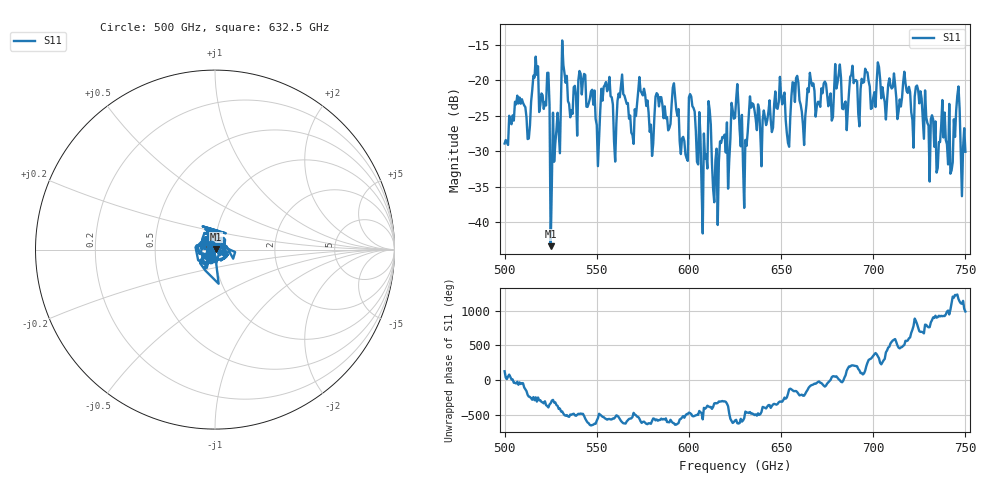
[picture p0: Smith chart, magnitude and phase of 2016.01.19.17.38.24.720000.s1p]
!Created with skrf (http://scikit-rf.org).
# GHz S RI R 50.0
!freq ReS11 ImS11
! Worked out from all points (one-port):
!   401 points, 500 GHz to 750 GHz, reference 50 ohm
!   lowest |S11| = -43.4 dB at 525 GHz (marker M1), VSWR 1.01, Z = 50.6 + j0.373 ohm
!   |S11| at or under -10 dB: start of sweep to end of sweep
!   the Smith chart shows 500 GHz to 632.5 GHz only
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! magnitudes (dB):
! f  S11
! 500 GHz  -28.9
! 513.1 GHz  -28.2
! 516.9 GHz  -16.7
! 523.1 GHz  -18.9
! 525 GHz  -43.4
! 526.2 GHz  -24.6
! 531.2 GHz  -14.4
! 542.5 GHz  -20.0
! 550.6 GHz  -32.1
! 562.5 GHz  -22.4
! 568.8 GHz  -27.4
! 574.4 GHz  -21.8
! 580 GHz  -30.7
! 593.8 GHz  -25.0
! 598.1 GHz  -30.5
! 601.2 GHz  -22.3
! 608.1 GHz  -27.5
! 611.2 GHz  -24.2
! 614.4 GHz  -31.3
! 625 GHz  -25.3
! 630.6 GHz  -28.4
! 633.8 GHz  -23.9
! 650.6 GHz  -23.4
! 653.8 GHz  -28.8
! 656.2 GHz  -20.3
! 687.5 GHz  -19.5
! 718.8 GHz  -21.8
! 750 GHz  -30.1
